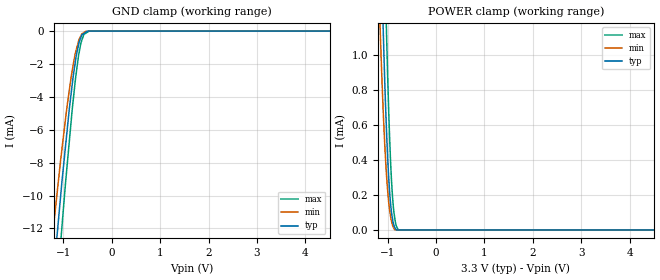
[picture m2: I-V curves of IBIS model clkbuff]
| [Disclaimer]  This software code and all associated documentation, comments
| or other information (collectively "Software") is provided
| "AS IS" without warranty of any kind. MICRON TECHNOLOGY, INC.
| ("MTI") EXPRESSLY DISCLAIMS ALL WARRANTIES EXPRESS OR IMPLIED,
| INCLUDING BUT NOT LIMITED TO, NONINFRINGEMENT OF THIRD PARTY
| RIGHTS, AND ANY IMPLIED WARRANTIES OF MERCHANTABILITY OR FITNESS
| FOR ANY PARTICULAR PURPOSE. MTI DOES NOT WARRANT THAT THE
| SOFTWARE WILL MEET YOUR REQUIREMENTS, OR THAT THE OPERATION OF
| THE SOFTWARE WILL BE UNINTERRUPTED OR ERROR-FREE. FURTHERMORE,
| MTI DOES NOT MAKE ANY REPRESENTATIONS REGARDING THE USE OR THE
| RESULTS OF THE USE OF THE SOFTWARE IN TERMS OF ITS CORRECTNESS,
| ACCURACY, RELIABILITY, OR OTHERWISE. THE ENTIRE RISK ARISING OUT
| OF USE OR PERFORMANCE OF THE SOFTWARE REMAINS WITH YOU. IN NO
| EVENT SHALL MTI, ITS AFFILIATED COMPANIES OR THEIR SUPPLIERS BE
| LIABLE FOR ANY DIRECT, INDIRECT, CONSEQUENTIAL, INCIDENTAL, OR
| SPECIAL DAMAGES (INCLUDING, WITHOUT LIMITATION, DAMAGES FOR LOSS
| OF PROFITS, BUSINESS INTERRUPTION, OR LOSS OF INFORMATION)
| ARISING OUT OF YOUR USE OF OR INABILITY TO USE THE SOFTWARE,
| EVEN IF MTI HAS BEEN ADVISED OF THE POSSIBILITY OF SUCH DAMAGES.
| Because some jurisdictions prohibit the exclusion or limitation
| of liability for consequential or incidental damages, the above
| limitation may not apply to you.
| [Copyright] Copyright 2003 Micron Technology, Inc. All Rights Reserved.
| From Y15w.ibs, Micron Technology, Inc.
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|   clkbuff MODEL
[Model]   clkbuff
Model_type   Input
Vinl = 800.000mV
Vinh = 2.000V
|   typ   min   max
C_comp   2.010pF   1.860pF   2.170pF
S_overshoot_high   4.600V		4.600V   4.600V
S_overshoot_low   -1.000V		-1.000V   -1.000V
D_overshoot_high   4.600V		4.600V   4.600V
D_overshoot_low   -1.000V		-1.000V   -1.000V
[Voltage Range]   3.300V   3.000V   3.600V
[Temperature Range]   25.0   85.0   0.0
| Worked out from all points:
|   GND clamp passes 1 mA (typ) near -0.70 V on its own axis
|   POWER clamp passes 1 mA (typ) near -1.08 V on its own axis
[GND Clamp]
|   Voltage   I(typ)   I(min)   I(max)
-3.3V     -808.8mA   -845mA     -797.3mA
-1.22V    -15.27mA   NA         NA
-1.03V    -9.088mA   NA         NA
-880mV    -4.73mA    NA         NA
-800mV    -2.764mA   NA         NA
-740mV    -1.563mA   NA         NA
-680mV    -703uA     -515.5uA   NA
-620mV    -225.3uA   -173.3uA   NA
-500mV    0A         NA         NA
6.6V      0A         0A         0A
[POWER Clamp]
|   Voltage   I(typ)   I(min)   I(max)
-3.3V     44.17mA    37.5mA     49.7mA
-1.16V    1.897mA    1.189mA    2.999mA
-1.1V     1.223mA    729uA      2.096mA
-1.08V    1.025mA    600.2uA    1.819mA
-1.04V    680.5uA    383.3uA    1.312mA
-1.02V    535.2uA    295.8uA    1.084mA
-980mV    303.4uA    161.6uA    689.6uA
-940mV    149.2uA    NA         389.4uA
-890mV    46.52uA    NA         NA
-860mV    15.77uA    1.518uA    NA
-820mV    0A         NA         21.33uA
6.6V      0A         0A         0A
